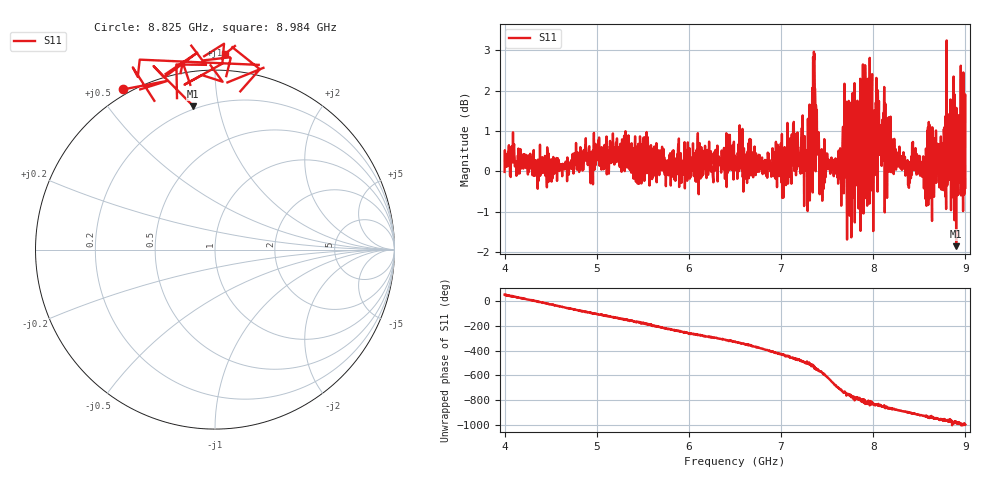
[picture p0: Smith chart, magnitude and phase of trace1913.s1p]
! Created with skrf 1.8.0 (http://scikit-rf.org).
# Hz S RI R 50.0
!freq ReS11 ImS11
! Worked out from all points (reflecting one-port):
!   1601 points, 4 GHz to 9 GHz, reference 50 ohm
!   lowest |S11| = -1.9 dB at 8.9 GHz (marker M1), VSWR 9.42, Z = 9.17 + j42.2 ohm
!   phase of S11 starts at 52 deg and turns -1050 deg over the sweep
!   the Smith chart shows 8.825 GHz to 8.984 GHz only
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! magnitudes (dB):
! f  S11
! 4 GHz  0.0
! 4.625 GHz  -0.1
! 5.25 GHz  0.1
! 5.875 GHz  0.4
! 6.5 GHz  0.3
! 7.125 GHz  0.5
! 7.209 GHz  0.5
! 7.262 GHz  0.4
! 7.319 GHz  1.2
! 7.362 GHz  2.9
! 7.438 GHz  0.4
! 7.628 GHz  0.2
! 7.684 GHz  0.4
! 7.738 GHz  -0.4
! 7.75 GHz  -0.6
! 7.834 GHz  0.8
! 7.909 GHz  1.6
! 7.928 GHz  0.1
! 7.947 GHz  0.8
! 7.962 GHz  2.8
! 7.981 GHz  0.3
! 8.097 GHz  1.0
! 8.375 GHz  0.1
! 8.766 GHz  1.0
! 8.834 GHz  1.4
! 8.9 GHz  -1.9
! 8.959 GHz  1.9
! 9 GHz  -0.4
